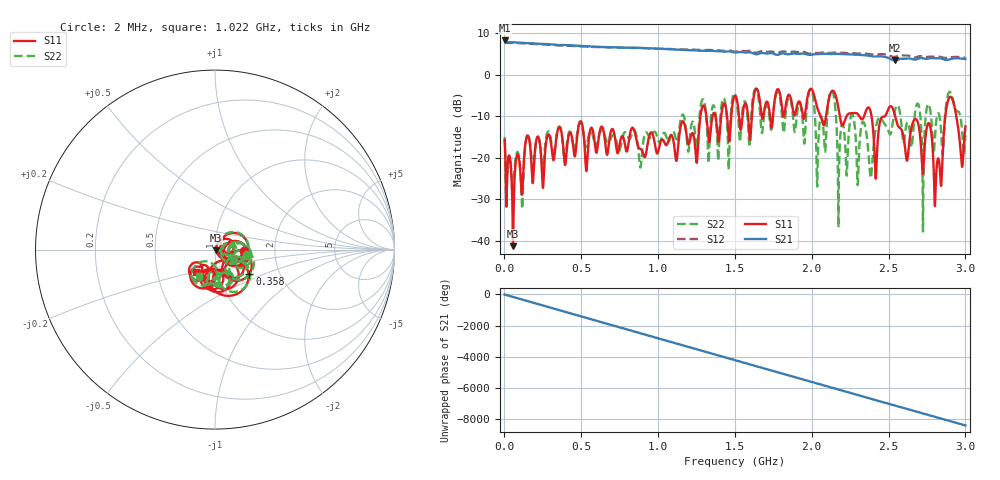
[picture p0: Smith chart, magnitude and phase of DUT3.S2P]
!Keysight Technologies,E5061B,MY49811124,B.05.20
!Date: Tue May 18 17:53:23 2021
!Data & Calibration Information:
!Freq	S11:NONE(--)	S21:NONE(--)	S12:NONE(--)	S22:NONE(--)
# Hz S RI R 50
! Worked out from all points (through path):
!   1500 points, 2 MHz to 3 GHz, reference 50 ohm
!   highest |S21| = 8.24 dB at 2 MHz (marker M1); lowest = 3.4 dB at 2.54 GHz (marker M2)
!   group delay of S21, straight-line fit = 7.77 ns
!   lowest |S11| = -41.2 dB at 56 MHz (marker M3), VSWR 1.02, Z = 50.7 - j0.456 ohm
!   |S11| at or under -10 dB: start of sweep to 1.276 GHz; 2.389 GHz to 2.476 GHz (86.23 MHz wide, 3.54 % of centre); 2.543 GHz to 2.869 GHz (325.9 MHz wide, 12 % of centre) (the widest 3 of 16)
!   |S22| runs from -37.7 to -3.5 dB; largest |S21 - S12| = 3.1
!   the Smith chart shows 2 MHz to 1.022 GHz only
!   S11 on the Smith chart (normalised r, x): 2 MHz: 1.39, -0.02; 358 MHz: 1.40, -0.41; 1.022 GHz: 0.79, -0.21
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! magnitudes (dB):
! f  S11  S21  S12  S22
! 2 MHz  -15.7  8.2  8.0  -15.0
! 56 MHz  -41.2  7.8  7.7  -27.5
! 358 MHz  -12.6  7.1  7.0  -12.4
! 502 MHz  -11.4  6.9  6.8  -11.8
! 1.002 GHz  -18.3  6.3  6.3  -15.9
! 1.022 GHz  -15.7  6.2  6.3  -15.3
! 1.502 GHz  -5.1  5.3  5.6  -4.7
! 2.002 GHz  -3.6  4.8  5.2  -4.0
! 2.038 GHz  -8.2  4.9  5.2  -23.2
! 2.128 GHz  -4.1  5.0  5.3  -3.8
! 2.176 GHz  -8.4  5.0  5.3  -27.4
! 2.262 GHz  -9.3  4.9  5.2  -9.6
! 2.372 GHz  -7.9  4.6  5.0  -20.1
! 2.418 GHz  -24.8  4.4  4.8  -12.6
! 2.502 GHz  -8.0  4.0  4.7  -13.9
! 2.54 GHz  -9.5  3.4  4.3  -8.8
! 2.692 GHz  -11.6  3.9  4.4  -7.0
! 2.724 GHz  -23.9  3.9  4.3  -37.7
! 2.764 GHz  -11.7  3.9  4.4  -7.3
! 2.806 GHz  -27.6  3.9  4.3  -12.8
! 2.896 GHz  -5.4  3.7  4.1  -4.1
! 3 GHz  -12.4  3.8  4.1  -14.6
